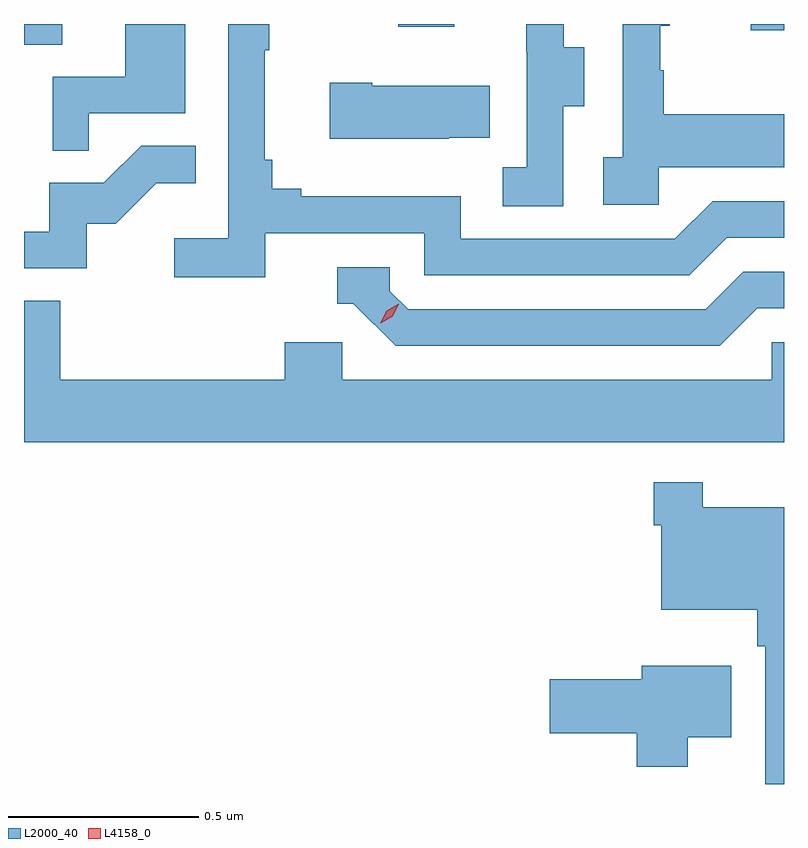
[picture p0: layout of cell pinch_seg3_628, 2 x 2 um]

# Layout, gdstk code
import gdstk
lib = gdstk.Library(unit=1e-6, precision=1e-09)
def R(c, l, rs):  # rectangles x0, y0, x1, y1
    for r in rs: c.add(gdstk.rectangle(r[:2], r[2:], *l))
def P(c, l, *ps):  # polygons
    for p in ps: c.add(gdstk.Polygon(p, *l))
L2000_40 = (2000, 40)
L4158_0 = (4158, 0)

pinch_seg3_628 = lib.new_cell('pinch_seg3_628')
R(pinch_seg3_628, L2000_40, [(1080.147,675.322,1080.247,675.376), (1082.06,675.36,1082.147,675.376), (1081.132,675.369,1081.279,675.376)])
P(pinch_seg3_628, L2000_40, [(1080.782,674.826),(1081.2,674.826),(1081.2,674.715),(1081.897,674.715),(1081.996,674.814),(1082.147,674.814),(1082.147,674.91),(1081.959,674.91),(1081.86,674.811),(1081.296,674.811),(1081.296,674.923),(1080.877,674.923),(1080.877,674.942),(1080.8,674.942),(1080.8,675.019),(1080.781,675.019),(1080.781,675.307),(1080.793,675.307),(1080.793,675.376),(1080.684,675.376),(1080.684,674.812),(1080.543,674.812),(1080.543,674.71),(1080.782,674.71)],
  [(1080.317,675.141),(1080.571,675.141),(1080.571,675.376),(1080.413,675.376),(1080.413,675.237),(1080.222,675.237),(1080.222,675.043),(1080.317,675.043)],
  [(1081.566,675.16),(1081.621,675.16),(1081.621,675.315),(1081.567,675.315),(1081.567,675.376),(1081.469,675.376),(1081.469,675.303),(1081.47,675.303),(1081.47,674.999),(1081.407,674.999),(1081.407,674.896),(1081.566,674.896)],
  [(1081.818,674.999),(1082.147,674.999),(1082.147,675.139),(1081.831,675.139),(1081.831,675.254),(1081.821,675.254),(1081.821,675.372),(1081.846,675.372),(1081.846,675.376),(1081.722,675.376),(1081.722,675.026),(1081.671,675.026),(1081.671,674.901),(1081.818,674.901)],
  [(1081.265,675.077),(1081.373,675.077),(1081.373,675.214),(1081.063,675.214),(1081.063,675.222),(1080.951,675.222),(1080.951,675.074),(1081.265,675.074)],
  [(1080.312,674.85),(1080.388,674.85),(1080.495,674.957),(1080.599,674.957),(1080.599,675.056),(1080.455,675.056),(1080.357,674.958),(1080.213,674.958),(1080.213,674.829),(1080.147,674.829),(1080.147,674.733),(1080.312,674.733)],
  [(1082.077,674.628),(1082.147,674.628),(1082.147,674.724),(1082.04,674.724),(1081.941,674.625),(1081.158,674.625),(1081.11,674.673),(1081.11,674.736),(1080.971,674.736),(1080.971,674.64),(1081.014,674.64),(1081.125,674.529),(1081.978,674.529)],
  [(1082.147,674.538),(1082.115,674.538),(1082.115,674.44),(1080.984,674.44),(1080.984,674.538),(1080.833,674.538),(1080.833,674.44),(1080.242,674.44),(1080.242,674.648),(1080.147,674.648),(1080.147,674.276),(1082.147,674.276)],
  [(1082.147,674.104),(1081.933,674.104),(1081.933,674.17),(1081.804,674.17),(1081.804,674.057),(1081.824,674.057),(1081.824,673.835),(1082.077,673.835),(1082.077,673.739),(1082.097,673.739),(1082.097,673.376),(1082.147,673.376)],
  [(1081.894,673.499),(1082.008,673.499),(1082.008,673.687),(1081.772,673.687),(1081.772,673.652),(1081.53,673.652),(1081.53,673.51),(1081.76,673.51),(1081.76,673.421),(1081.894,673.421)])
P(pinch_seg3_628, L4158_0, [(1081.085,674.588),(1081.085,674.588),(1081.102,674.621),(1081.133,674.64),(1081.133,674.64),(1081.133,674.64),(1081.117,674.607),(1081.086,674.588)])

lib.write_gds('pinch_seg3_628.gds')
